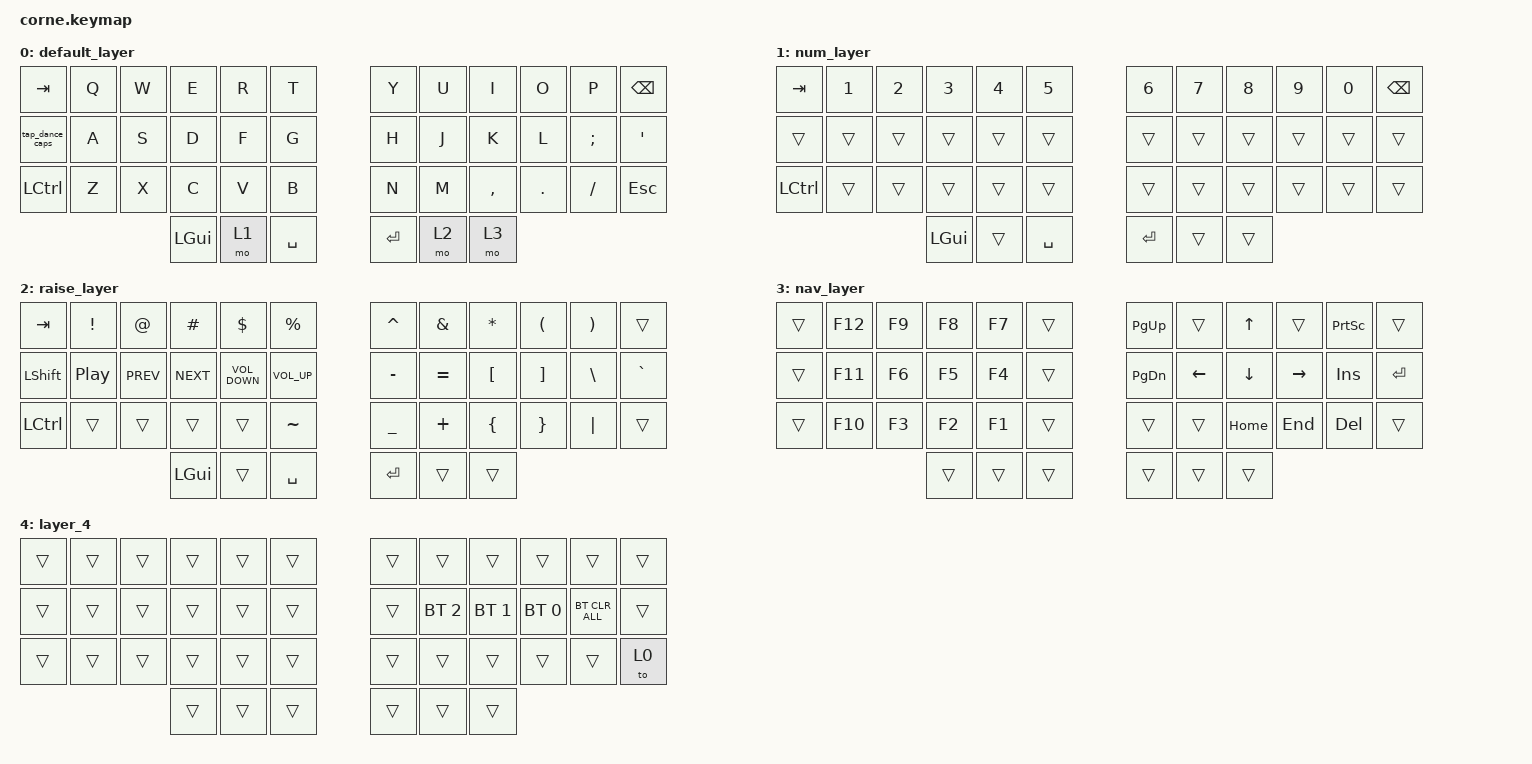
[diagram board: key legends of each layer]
/*
 * Copyright (c) 2020 The ZMK Contributors
 *
 * SPDX-License-Identifier: MIT
 */

#include <behaviors.dtsi>
#include <dt-bindings/zmk/bt.h>
#include <dt-bindings/zmk/keys.h>

/ {
    combos {
        compatible = "zmk,combos";

        soft_off_combo {
            bindings = <&soft_off>;
            key-positions = <0 11>;
            timeout-ms = <5000>;
            slow-release;
            layers = <2>;
        };

        bootloader {
            bindings = <&bootloader>;
            key-positions = <24 35>;
            timeout-ms = <300>;
            layers = <3>;
        };

        bt_layer {
            bindings = <&to 4>;
            key-positions = <16 15 14>;
        };

        default_layer_combo {
            bindings = <&to 0>;
            key-positions = <19 16>;
        };
    };

    behaviors {
        hrm: hrm {
            compatible = "zmk,behavior-hold-tap";
            label = "HRM";
            bindings = <&kp>, <&kp>;

            #binding-cells = <2>;
            tapping-term-ms = <200>;
            quick-tap-ms = <0>;
            flavor = "tap-preferred";
            hold-trigger-key-positions = <13 22 14 15 16 19 20 21>;
        };

        tap_dance_caps: tap_dance_caps {
            compatible = "zmk,behavior-tap-dance";
            label = "TAP_DANCE_CAPS";
            #binding-cells = <0>;
            tapping-term-ms = <250>;
            bindings = <&kp LSHFT>, <&kp CAPSLOCK>;
        };
    };

    keymap {
        compatible = "zmk,keymap";

        default_layer {
            // -----------------------------------------------------------------------------------------
            // |  TAB |  Q  |  W  |  E  |  R  |  T  |   |  Y  |  U   |  I  |  O  |  P  | BKSP |
            // | CTRL |  A  |  S  |  D  |  F  |  G  |   |  H  |  J   |  K  |  L  |  ;  |  '   |
            // | SHFT |  Z  |  X  |  C  |  V  |  B  |   |  N  |  M   |  ,  |  .  |  /  | ESC  |
            //                    | GUI | LWR | SPC |   | ENT | RSE  | ALT |

            bindings = <
&kp TAB          &kp Q  &kp W  &kp E     &kp R  &kp T        &kp Y      &kp U  &kp I      &kp O    &kp P     &kp BACKSPACE
&tap_dance_caps  &kp A  &kp S  &kp D     &kp F  &kp G        &kp H      &kp J  &kp K      &kp L    &kp SEMI  &kp SQT
&kp LCTRL        &kp Z  &kp X  &kp C     &kp V  &kp B        &kp N      &kp M  &kp COMMA  &kp DOT  &kp FSLH  &kp ESC
                               &kp LGUI  &mo 1  &kp SPACE    &kp ENTER  &mo 2  &mo 3
            >;
        };

        num_layer {
            // -----------------------------------------------------------------------------------------
            // |  TAB |  1  |  2  |  3  |  4  |  5  |   |  6  |  7  |  8  |  9  |  0  | BKSP |
            // | BTCLR| BT1 | BT2 | BT3 | BT4 | BT5 |   | LFT | DWN |  UP | RGT |     |      |
            // | SHFT |     |     |     |     |     |   |     |     |     |     |     |      |
            //                    | GUI |     | SPC |   | ENT |     | ALT |

            bindings = <
&kp TAB    &kp N1  &kp N2  &kp N3    &kp N4  &kp N5       &kp N6   &kp N7  &kp N8  &kp N9  &kp N0  &kp BSPC
&trans     &trans  &trans  &trans    &trans  &trans       &trans   &trans  &trans  &trans  &trans  &trans
&kp LCTRL  &trans  &trans  &trans    &trans  &trans       &trans   &trans  &trans  &trans  &trans  &trans
                           &kp LGUI  &trans  &kp SPACE    &kp RET  &trans  &trans
            >;
        };

        raise_layer {
            // -----------------------------------------------------------------------------------------
            // |  TAB |  !  |  @  |  #  |  $  |  %  |   |  ^  |  &  |  *  |  (  |  )  | BKSP |
            // | CTRL |     |     |     |     |     |   |  -  |  =  |  [  |  ]  |  \  |  `   |
            // | SHFT |     |     |     |     |     |   |  _  |  +  |  {  |  }  | "|" |  ~   |
            //                    | GUI |     | SPC |   | ENT |     | ALT |

            bindings = <
&kp TAB    &kp EXCL          &kp AT      &kp HASH    &kp DLLR           &kp PRCNT          &kp CARET  &kp AMPS   &kp ASTRK  &kp LPAR  &kp RPAR  &trans
&kp LSHFT  &kp C_PLAY_PAUSE  &kp C_PREV  &kp C_NEXT  &kp C_VOLUME_DOWN  &kp C_VOLUME_UP    &kp MINUS  &kp EQUAL  &kp LBKT   &kp RBKT  &kp BSLH  &kp GRAVE
&kp LCTRL  &trans            &trans      &trans      &trans             &kp TILDE          &kp UNDER  &kp PLUS   &kp LBRC   &kp RBRC  &kp PIPE  &trans
                                         &kp LGUI    &trans             &kp SPACE          &kp RET    &trans     &trans
            >;
        };

        nav_layer {
            bindings = <
&trans  &kp F12  &kp F9  &kp F8  &kp F7  &trans    &kp PAGE_UP    &trans    &kp UP    &trans     &kp PRINTSCREEN  &trans
&trans  &kp F11  &kp F6  &kp F5  &kp F4  &trans    &kp PAGE_DOWN  &kp LEFT  &kp DOWN  &kp RIGHT  &kp INSERT       &kp RET
&trans  &kp F10  &kp F3  &kp F2  &kp F1  &trans    &trans         &trans    &kp HOME  &kp END    &kp DELETE       &trans
                         &trans  &trans  &trans    &trans         &trans    &trans
            >;
        };

        layer_4 {
            bindings = <
&trans  &trans  &trans  &trans  &trans  &trans    &trans  &trans        &trans        &trans        &trans          &trans
&trans  &trans  &trans  &trans  &trans  &trans    &trans  &bt BT_SEL 2  &bt BT_SEL 1  &bt BT_SEL 0  &bt BT_CLR_ALL  &trans
&trans  &trans  &trans  &trans  &trans  &trans    &trans  &trans        &trans        &trans        &trans          &to 0
                        &trans  &trans  &trans    &trans  &trans        &trans
            >;
        };
    };
};
